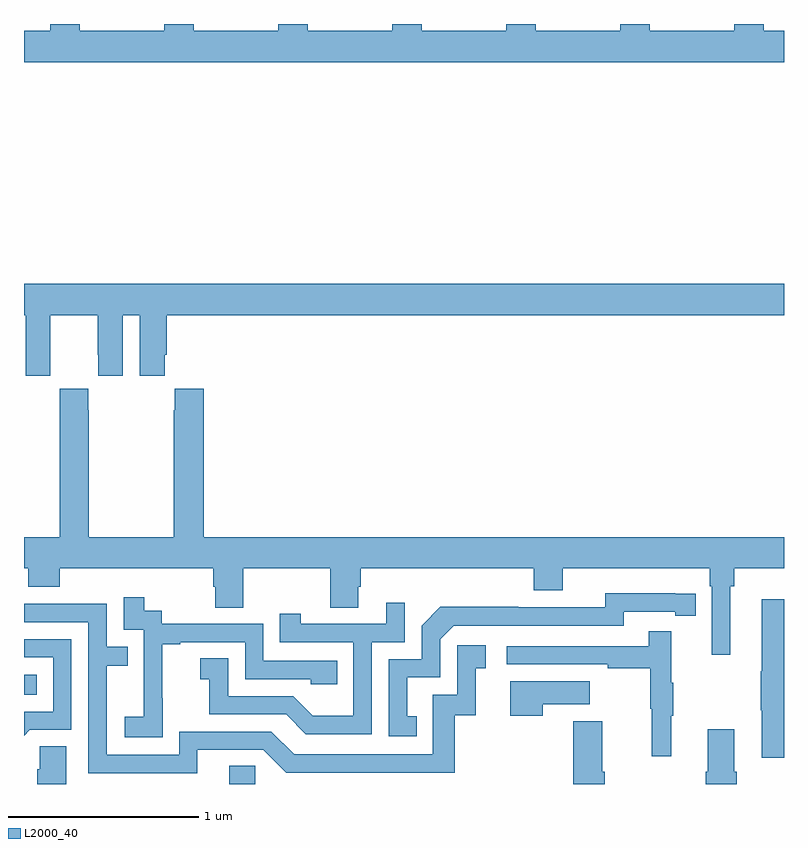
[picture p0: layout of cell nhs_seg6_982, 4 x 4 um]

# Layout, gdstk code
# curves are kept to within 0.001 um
import gdstk
lib = gdstk.Library(unit=1e-6, precision=1e-09)
def R(c, l, rs):  # rectangles x0, y0, x1, y1
    for r in rs: c.add(gdstk.rectangle(r[:2], r[2:], *l))
def P(c, l, *ps):  # polygons
    for p in ps: c.add(gdstk.Polygon(p, *l))
L2000_40 = (2000, 40)

nhs_seg6_982 = lib.new_cell('nhs_seg6_982')
R(nhs_seg6_982, L2000_40, [(172.079,979.5,172.218,979.595), (171,979.97,171.068,980.074)])
P(nhs_seg6_982, L2000_40, [(175,983.464),(174.894,983.464),(174.894,983.5),(174.739,983.5),(174.739,983.464),(174.294,983.464),(174.294,983.5),(174.139,983.5),(174.139,983.464),(173.694,983.464),(173.694,983.5),(173.539,983.5),(173.539,983.464),(173.094,983.464),(173.094,983.5),(172.939,983.5),(172.939,983.464),(172.494,983.464),(172.494,983.5),(172.339,983.5),(172.339,983.464),(171.894,983.464),(171.894,983.5),(171.739,983.5),(171.739,983.464),(171.294,983.464),(171.294,983.5),(171.139,983.5),(171.139,983.464),(171,983.464),(171,983.3),(175,983.3)],
  [(171.138,981.76),(171.139,981.76),(171.139,981.968),(171.389,981.968),(171.389,981.76),(171.39,981.76),(171.39,981.648),(171.52,981.648),(171.52,981.968),(171.608,981.968),(171.608,981.648),(171.742,981.648),(171.742,981.76),(171.752,981.76),(171.752,981.968),(175,981.968),(175,982.132),(171,982.132),(171,981.968),(171.008,981.968),(171.008,981.648),(171.138,981.648)],
  [(174.718,980.54),(174.737,980.54),(174.737,980.636),(175,980.636),(175,980.8),(171.947,980.8),(171.947,981.58),(171.793,981.58),(171.793,981.467),(171.787,981.467),(171.787,980.8),(171.342,980.8),(171.342,981.467),(171.339,981.467),(171.339,981.58),(171.189,981.58),(171.189,981.467),(171.187,981.467),(171.187,980.8),(171,980.8),(171,980.636),(171.023,980.636),(171.023,980.537),(171.188,980.537),(171.188,980.636),(171.995,980.636),(171.995,980.538),(172.007,980.538),(172.007,980.428),(172.155,980.428),(172.155,980.636),(172.612,980.636),(172.612,980.428),(172.759,980.428),(172.759,980.538),(172.772,980.538),(172.772,980.636),(173.684,980.636),(173.684,980.519),(173.836,980.519),(173.836,980.636),(174.608,980.636),(174.608,980.54),(174.621,980.54),(174.621,980.181),(174.718,980.181)],
  [(173.066,979.857),(173.017,979.857),(173.017,980.061),(173.19,980.061),(173.19,980.262),(173.262,980.334),(174.156,980.334),(174.156,980.406),(174.428,980.406),(174.428,980.386),(174.536,980.386),(174.536,980.502),(174.06,980.503),(174.06,980.43),(173.6,980.43),(173.6,980.432),(173.192,980.432),(173.094,980.334),(173.094,980.157),(172.92,980.157),(172.92,979.752),(173.066,979.752)],
  [(171.729,979.951),(171.728,979.951),(171.728,980.235),(171.823,980.235),(171.823,980.247),(172.164,980.247),(172.164,980.052),(172.509,980.052),(172.509,980.025),(172.649,980.025),(172.649,980.148),(172.26,980.148),(172.26,980.343),(171.726,980.343),(171.726,980.412),(171.634,980.412),(171.634,980.482),(171.525,980.482),(171.525,980.313),(171.63,980.313),(171.63,980.084),(171.629,980.084),(171.629,979.855),(171.531,979.855),(171.531,979.745),(171.729,979.745)],
  [(175,980.473),(174.884,980.473),(174.884,980.093),(174.877,980.093),(174.877,979.887),(174.884,979.887),(174.884,979.638),(175,979.638)],
  [(172.83,980.247),(173.004,980.247),(173.004,980.455),(172.907,980.455),(172.907,980.343),(172.456,980.343),(172.456,980.395),(172.345,980.395),(172.345,980.247),(172.734,980.247),(172.734,979.858),(172.52,979.858),(172.416,979.962),(172.074,979.962),(172.074,980.161),(171.927,980.161),(171.927,980.051),(171.976,980.051),(171.976,979.866),(172.379,979.866),(172.484,979.761),(172.83,979.761)],
  [(171.913,979.68),(172.26,979.68),(172.38,979.56),(173.267,979.56),(173.267,979.863),(173.378,979.863),(173.378,980.109),(173.431,980.109),(173.431,980.23),(173.28,980.23),(173.28,979.971),(173.151,979.971),(173.151,979.656),(172.422,979.656),(172.302,979.776),(171.816,979.776),(171.816,979.653),(171.435,979.653),(171.435,980.122),(171.545,980.122),(171.545,980.223),(171.435,980.223),(171.435,980.448),(171,980.448),(171,980.352),(171.339,980.352),(171.339,979.557),(171.913,979.557)],
  [(174.407,979.859),(174.418,979.859),(174.418,980.033),(174.407,980.033),(174.407,980.305),(174.289,980.305),(174.289,980.226),(173.541,980.226),(173.541,980.13),(174.073,980.13),(174.073,980.11),(174.297,980.11),(174.297,979.896),(174.304,979.896),(174.304,979.647),(174.407,979.647)],
  [(171.03,979.785),(171.249,979.785),(171.249,980.262),(171,980.262),(171,980.166),(171.153,980.166),(171.153,979.881),(171,979.881),(171,979.755)],
  [(173.729,979.919),(173.977,979.919),(173.977,980.041),(173.558,980.041),(173.558,979.86),(173.729,979.86)],
  [(174.056,979.564),(174.043,979.564),(174.043,979.831),(173.891,979.831),(173.891,979.5),(174.056,979.5)],
  [(174.752,979.564),(174.739,979.564),(174.739,979.789),(174.599,979.789),(174.599,979.564),(174.587,979.564),(174.587,979.5),(174.752,979.5)],
  [(171.223,979.7),(171.084,979.7),(171.084,979.577),(171.071,979.577),(171.071,979.5),(171.223,979.5)])

lib.write_gds('nhs_seg6_982.gds')
